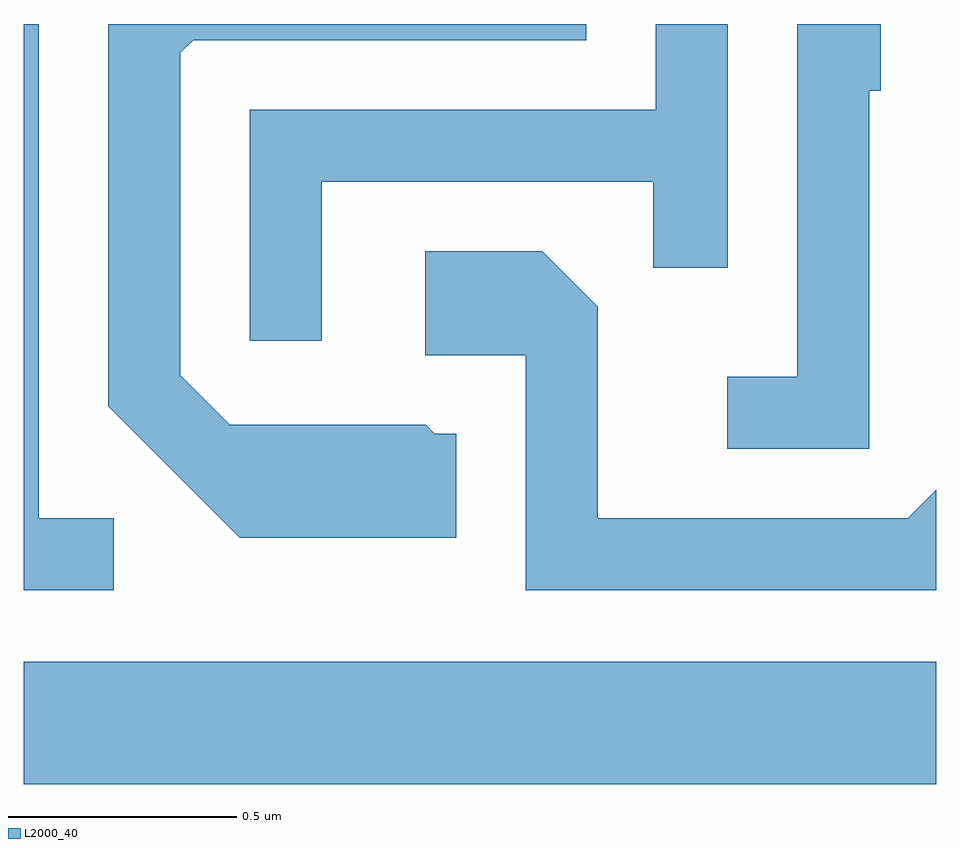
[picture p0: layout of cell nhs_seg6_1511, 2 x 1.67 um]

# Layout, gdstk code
import gdstk
lib = gdstk.Library(unit=1e-6, precision=1e-09)
def R(c, l, rs):  # rectangles x0, y0, x1, y1
    for r in rs: c.add(gdstk.rectangle(r[:2], r[2:], *l))
def P(c, l, *ps):  # polygons
    for p in ps: c.add(gdstk.Polygon(p, *l))
L2000_40 = (2000, 40)

nhs_seg6_1511 = lib.new_cell('nhs_seg6_1511')
R(nhs_seg6_1511, L2000_40, [(196.611,1534.496,198.611,1534.764)])
P(nhs_seg6_1511, L2000_40, [(197.264,1535.816),(197.991,1535.816),(197.991,1535.628),(198.154,1535.628),(198.154,1536.162),(197.996,1536.162),(197.996,1535.974),(197.106,1535.974),(197.106,1535.468),(197.264,1535.468)],
  [(196.808,1535.079),(196.644,1535.079),(196.644,1536.162),(196.611,1536.162),(196.611,1534.921),(196.808,1534.921)],
  [(198.464,1536.016),(198.489,1536.016),(198.489,1536.162),(198.306,1536.162),(198.306,1535.389),(198.153,1535.389),(198.153,1535.231),(198.464,1535.231)],
  [(197.559,1535.264),(197.512,1535.264),(197.492,1535.284),(197.062,1535.284),(196.954,1535.392),(196.954,1536.099),(196.982,1536.126),(197.844,1536.126),(197.844,1536.162),(196.796,1536.162),(196.796,1535.324),(197.084,1535.036),(197.559,1535.036)],
  [(198.611,1535.141),(198.549,1535.079),(197.869,1535.079),(197.869,1535.542),(197.747,1535.664),(197.491,1535.664),(197.491,1535.436),(197.711,1535.436),(197.711,1534.921),(198.611,1534.921)])

lib.write_gds('nhs_seg6_1511.gds')
